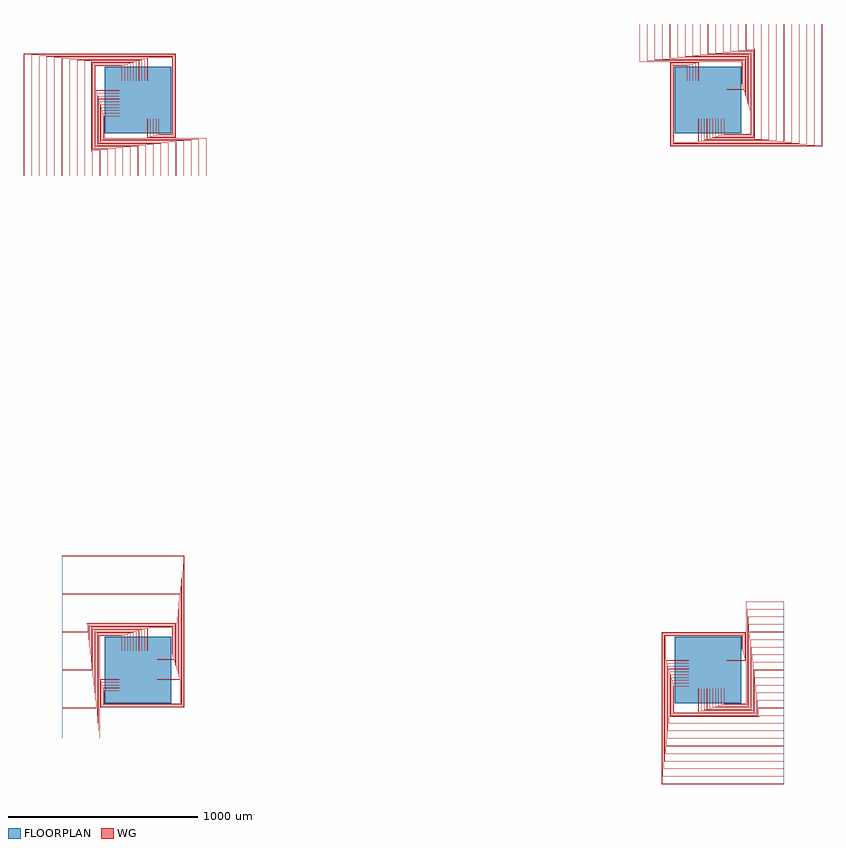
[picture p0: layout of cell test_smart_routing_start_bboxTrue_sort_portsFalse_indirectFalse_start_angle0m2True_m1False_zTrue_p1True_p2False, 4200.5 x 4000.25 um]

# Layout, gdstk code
import gdstk
lib = gdstk.Library(unit=1e-6, precision=1e-09)
def R(c, l, rs):  # rectangles x0, y0, x1, y1
    for r in rs: c.add(gdstk.rectangle(r[:2], r[2:], *l))
def P(c, l, *ps):  # polygons
    for p in ps: c.add(gdstk.Polygon(p, *l))
WG = (1, 0)
FLOORPLAN = (10, 0)

test_smart_routing_start = lib.new_cell('test_smart_routing_start_bboxTrue_sort_portsFalse_indirectFalse_start_angle0m2True_m1False_zTrue_p1True_p2False')
P(test_smart_routing_start, WG, [(2802.8,2757.8),(2802.8,3197.2),(2949.95,3197.2),(2949.95,3100),(2949.75,3100),(2949.75,3197),(2803,3197),(2803,2758),(3599.75,2758),(3599.75,3400),(3599.95,3400),(3599.95,2757.8)],
  [(2802.5,2757.5),(2802.5,3197.5),(2950.25,3197.5),(2950.25,3100),(2950.05,3100),(2950.05,3197.3),(2802.7,3197.3),(2802.7,2757.7),(3600.05,2757.7),(3600.05,3400),(3600.25,3400),(3600.25,2757.5)],
  [(2807.3,2762.3),(2807.3,3192.7),(2934.95,3192.7),(2934.95,3100),(2934.75,3100),(2934.75,3192.5),(2807.5,3192.5),(2807.5,2762.5),(3559.75,2762.5),(3559.75,3400),(3559.95,3400),(3559.95,2762.3)],
  [(2807,2762),(2807,3193),(2935.25,3193),(2935.25,3100),(2935.05,3100),(2935.05,3192.8),(2807.2,3192.8),(2807.2,2762.2),(3560.05,2762.2),(3560.05,3400),(3560.25,3400),(3560.25,2762)],
  [(2811.8,2766.8),(2811.8,3188.2),(2919.95,3188.2),(2919.95,3100),(2919.75,3100),(2919.75,3188),(2812,3188),(2812,2767),(3519.75,2767),(3519.75,3400),(3519.95,3400),(3519.95,2766.8)],
  [(2811.5,2766.5),(2811.5,3188.5),(2920.25,3188.5),(2920.25,3100),(2920.05,3100),(2920.05,3188.3),(2811.7,3188.3),(2811.7,2766.7),(3520.05,2766.7),(3520.05,3400),(3520.25,3400),(3520.25,2766.5)],
  [(2816.3,2771.3),(2816.3,3183.7),(2904.95,3183.7),(2904.95,3100),(2904.75,3100),(2904.75,3183.5),(2816.5,3183.5),(2816.5,2771.5),(3479.75,2771.5),(3479.75,3400),(3479.95,3400),(3479.95,2771.3)],
  [(2816,2771),(2816,3184),(2905.25,3184),(2905.25,3100),(2905.05,3100),(2905.05,3183.8),(2816.2,3183.8),(2816.2,2771.2),(3480.05,2771.2),(3480.05,3400),(3480.25,3400),(3480.25,2771)],
  [(2820.8,2775.8),(2820.8,3179.2),(2889.95,3179.2),(2889.95,3100),(2889.75,3100),(2889.75,3179),(2821,3179),(2821,2776),(3439.75,2776),(3439.75,3400),(3439.95,3400),(3439.95,2775.8)],
  [(2820.5,2775.5),(2820.5,3179.5),(2890.25,3179.5),(2890.25,3100),(2890.05,3100),(2890.05,3179.3),(2820.7,3179.3),(2820.7,2775.7),(3440.05,2775.7),(3440.05,3400),(3440.25,3400),(3440.25,2775.5)],
  [(2950.05,2780.3),(2950.05,2900),(2950.25,2900),(2950.25,2780.5),(3399.75,2780.5),(3399.75,3400),(3399.95,3400),(3399.95,2780.3)],
  [(2949.75,2780),(2949.75,2900),(2949.95,2900),(2949.95,2780.2),(3400.05,2780.2),(3400.05,3400),(3400.25,3400),(3400.25,2780)],
  [(2965.05,2784.8),(2965.05,2900),(2965.25,2900),(2965.25,2785),(3359.75,2785),(3359.75,3400),(3359.95,3400),(3359.95,2784.8)],
  [(2964.75,2784.5),(2964.75,2900),(2964.95,2900),(2964.95,2784.7),(3360.05,2784.7),(3360.05,3400),(3360.25,3400),(3360.25,2784.5)],
  [(2980.05,2789.3),(2980.05,2900),(2980.25,2900),(2980.25,2789.5),(3319.75,2789.5),(3319.75,3400),(3319.95,3400),(3319.95,2789.3)],
  [(2979.75,2789),(2979.75,2900),(2979.95,2900),(2979.95,2789.2),(3320.05,2789.2),(3320.05,3400),(3320.25,3400),(3320.25,2789)],
  [(2995.05,2793.8),(2995.05,2900),(2995.25,2900),(2995.25,2794),(3279.75,2794),(3279.75,3400),(3279.95,3400),(3279.95,2793.8)],
  [(2994.75,2793.5),(2994.75,2900),(2994.95,2900),(2994.95,2793.7),(3280.05,2793.7),(3280.05,3400),(3280.25,3400),(3280.25,2793.5)],
  [(3010.05,2798.3),(3010.05,2900),(3010.25,2900),(3010.25,2798.5),(3246.5,2798.5),(3246.5,3269),(3239.75,3269),(3239.75,3400),(3239.95,3400),(3239.95,3269.2),(3246.7,3269.2),(3246.7,2798.3)],
  [(3009.75,2798),(3009.75,2900),(3009.95,2900),(3009.95,2798.2),(3246.8,2798.2),(3246.8,3269.3),(3240.05,3269.3),(3240.05,3400),(3240.25,3400),(3240.25,3269.5),(3247,3269.5),(3247,2798)],
  [(3025.05,2802.8),(3025.05,2900),(3025.25,2900),(3025.25,2803),(3242,2803),(3242,3264.5),(3199.75,3264.5),(3199.75,3400),(3199.95,3400),(3199.95,3264.7),(3242.2,3264.7),(3242.2,2802.8)],
  [(3024.75,2802.5),(3024.75,2900),(3024.95,2900),(3024.95,2802.7),(3242.3,2802.7),(3242.3,3264.8),(3200.05,3264.8),(3200.05,3400),(3200.25,3400),(3200.25,3265),(3242.5,3265),(3242.5,2802.5)],
  [(3040.05,2807.3),(3040.05,2900),(3040.25,2900),(3040.25,2807.5),(3237.5,2807.5),(3237.5,3260),(3159.75,3260),(3159.75,3400),(3159.95,3400),(3159.95,3260.2),(3237.7,3260.2),(3237.7,2807.3)],
  [(3039.75,2807),(3039.75,2900),(3039.95,2900),(3039.95,2807.2),(3237.8,2807.2),(3237.8,3260.3),(3160.05,3260.3),(3160.05,3400),(3160.25,3400),(3160.25,3260.5),(3238,3260.5),(3238,2807)],
  [(3055.05,2811.8),(3055.05,2900),(3055.25,2900),(3055.25,2812),(3233,2812),(3233,3255.5),(3119.75,3255.5),(3119.75,3400),(3119.95,3400),(3119.95,3255.7),(3233.2,3255.7),(3233.2,2811.8)],
  [(3054.75,2811.5),(3054.75,2900),(3054.95,2900),(3054.95,2811.7),(3233.3,2811.7),(3233.3,3255.8),(3120.05,3255.8),(3120.05,3400),(3120.25,3400),(3120.25,3256),(3233.5,3256),(3233.5,2811.5)],
  [(3070.05,2816.3),(3070.05,2900),(3070.25,2900),(3070.25,2816.5),(3228.5,2816.5),(3228.5,3251),(3079.75,3251),(3079.75,3400),(3079.95,3400),(3079.95,3251.2),(3228.7,3251.2),(3228.7,2816.3)],
  [(3069.75,2816),(3069.75,2900),(3069.95,2900),(3069.95,2816.2),(3228.8,2816.2),(3228.8,3251.3),(3080.05,3251.3),(3080.05,3400),(3080.25,3400),(3080.25,3251.5),(3229,3251.5),(3229,2816)],
  [(3085.05,2820.8),(3085.05,2900),(3085.25,2900),(3085.25,2821),(3224,2821),(3224,3246.5),(3039.75,3246.5),(3039.75,3400),(3039.95,3400),(3039.95,3246.7),(3224.2,3246.7),(3224.2,2820.8)],
  [(3084.75,2820.5),(3084.75,2900),(3084.95,2900),(3084.95,2820.7),(3224.3,2820.7),(3224.3,3246.8),(3040.05,3246.8),(3040.05,3400),(3040.25,3400),(3040.25,3247),(3224.5,3247),(3224.5,2820.5)],
  [(3100,2950.05),(3100,2950.25),(3219.5,2950.25),(3219.5,3242),(2999.75,3242),(2999.75,3400),(2999.95,3400),(2999.95,3242.2),(3219.7,3242.2),(3219.7,2950.05)],
  [(3100,2949.75),(3100,2949.95),(3219.8,2949.95),(3219.8,3242.3),(3000.05,3242.3),(3000.05,3400),(3000.25,3400),(3000.25,3242.5),(3220,3242.5),(3220,2949.75)],
  [(3100,2965.05),(3100,2965.25),(3215,2965.25),(3215,3237.5),(2959.75,3237.5),(2959.75,3400),(2959.95,3400),(2959.95,3237.7),(3215.2,3237.7),(3215.2,2965.05)],
  [(3100,2964.75),(3100,2964.95),(3215.3,2964.95),(3215.3,3237.8),(2960.05,3237.8),(2960.05,3400),(2960.25,3400),(2960.25,3238),(3215.5,3238),(3215.5,2964.75)],
  [(3100,2980.05),(3100,2980.25),(3210.5,2980.25),(3210.5,3233),(2919.75,3233),(2919.75,3400),(2919.95,3400),(2919.95,3233.2),(3210.7,3233.2),(3210.7,2980.05)],
  [(3100,2979.75),(3100,2979.95),(3210.8,2979.95),(3210.8,3233.3),(2920.05,3233.3),(2920.05,3400),(2920.25,3400),(2920.25,3233.5),(3211,3233.5),(3211,2979.75)],
  [(3100,2995.05),(3100,2995.25),(3206,2995.25),(3206,3228.5),(2879.75,3228.5),(2879.75,3400),(2879.95,3400),(2879.95,3228.7),(3206.2,3228.7),(3206.2,2995.05)],
  [(3100,2994.75),(3100,2994.95),(3206.3,2994.95),(3206.3,3228.8),(2880.05,3228.8),(2880.05,3400),(2880.25,3400),(2880.25,3229),(3206.5,3229),(3206.5,2994.75)],
  [(3100,3010.05),(3100,3010.25),(3201.5,3010.25),(3201.5,3224),(2839.75,3224),(2839.75,3400),(2839.95,3400),(2839.95,3224.2),(3201.7,3224.2),(3201.7,3010.05)],
  [(3100,3009.75),(3100,3009.95),(3201.8,3009.95),(3201.8,3224.3),(2840.05,3224.3),(2840.05,3400),(2840.25,3400),(2840.25,3224.5),(3202,3224.5),(3202,3009.75)],
  [(3100,3025.05),(3100,3025.25),(3197,3025.25),(3197,3219.5),(2799.75,3219.5),(2799.75,3400),(2799.95,3400),(2799.95,3219.7),(3197.2,3219.7),(3197.2,3025.05)],
  [(3100,3024.75),(3100,3024.95),(3197.3,3024.95),(3197.3,3219.8),(2800.05,3219.8),(2800.05,3400),(2800.25,3400),(2800.25,3220),(3197.5,3220),(3197.5,3024.75)],
  [(3100,3040.05),(3100,3040.25),(3192.5,3040.25),(3192.5,3215),(2759.75,3215),(2759.75,3400),(2759.95,3400),(2759.95,3215.2),(3192.7,3215.2),(3192.7,3040.05)],
  [(3100,3039.75),(3100,3039.95),(3192.8,3039.95),(3192.8,3215.3),(2760.05,3215.3),(2760.05,3400),(2760.25,3400),(2760.25,3215.5),(3193,3215.5),(3193,3039.75)],
  [(3100,3055.05),(3100,3055.25),(3188,3055.25),(3188,3210.5),(2719.75,3210.5),(2719.75,3400),(2719.95,3400),(2719.95,3210.7),(3188.2,3210.7),(3188.2,3055.05)],
  [(3100,3054.75),(3100,3054.95),(3188.3,3054.95),(3188.3,3210.8),(2720.05,3210.8),(2720.05,3400),(2720.25,3400),(2720.25,3211),(3188.5,3211),(3188.5,3054.75)],
  [(3100,3070.05),(3100,3070.25),(3183.5,3070.25),(3183.5,3206),(2679.75,3206),(2679.75,3400),(2679.95,3400),(2679.95,3206.2),(3183.7,3206.2),(3183.7,3070.05)],
  [(3100,3069.75),(3100,3069.95),(3183.8,3069.95),(3183.8,3206.3),(2680.05,3206.3),(2680.05,3400),(2680.25,3400),(2680.25,3206.5),(3184,3206.5),(3184,3069.75)],
  [(3100,3085.05),(3100,3085.25),(3179,3085.25),(3179,3201.5),(2639.75,3201.5),(2639.75,3400),(2639.95,3400),(2639.95,3201.7),(3179.2,3201.7),(3179.2,3085.05)],
  [(3100,3084.75),(3100,3084.95),(3179.3,3084.95),(3179.3,3201.8),(2640.05,3201.8),(2640.05,3400),(2640.25,3400),(2640.25,3202),(3179.5,3202),(3179.5,3084.75)],
  [(-599.95,2600),(-599.95,3242.2),(197.2,3242.2),(197.2,2802.8),(50.05,2802.8),(50.05,2900),(50.25,2900),(50.25,2803),(197,2803),(197,3242),(-599.75,3242),(-599.75,2600)],
  [(-600.25,2600),(-600.25,3242.5),(197.5,3242.5),(197.5,2802.5),(49.75,2802.5),(49.75,2900),(49.95,2900),(49.95,2802.7),(197.3,2802.7),(197.3,3242.3),(-600.05,3242.3),(-600.05,2600)],
  [(-559.95,2600),(-559.95,3237.7),(192.7,3237.7),(192.7,2807.3),(65.05,2807.3),(65.05,2900),(65.25,2900),(65.25,2807.5),(192.5,2807.5),(192.5,3237.5),(-559.75,3237.5),(-559.75,2600)],
  [(-560.25,2600),(-560.25,3238),(193,3238),(193,2807),(64.75,2807),(64.75,2900),(64.95,2900),(64.95,2807.2),(192.8,2807.2),(192.8,3237.8),(-560.05,3237.8),(-560.05,2600)],
  [(-519.95,2600),(-519.95,3233.2),(188.2,3233.2),(188.2,2811.8),(80.05,2811.8),(80.05,2900),(80.25,2900),(80.25,2812),(188,2812),(188,3233),(-519.75,3233),(-519.75,2600)],
  [(-520.25,2600),(-520.25,3233.5),(188.5,3233.5),(188.5,2811.5),(79.75,2811.5),(79.75,2900),(79.95,2900),(79.95,2811.7),(188.3,2811.7),(188.3,3233.3),(-520.05,3233.3),(-520.05,2600)],
  [(-479.95,2600),(-479.95,3228.7),(183.7,3228.7),(183.7,2816.3),(95.05,2816.3),(95.05,2900),(95.25,2900),(95.25,2816.5),(183.5,2816.5),(183.5,3228.5),(-479.75,3228.5),(-479.75,2600)],
  [(-480.25,2600),(-480.25,3229),(184,3229),(184,2816),(94.75,2816),(94.75,2900),(94.95,2900),(94.95,2816.2),(183.8,2816.2),(183.8,3228.8),(-480.05,3228.8),(-480.05,2600)],
  [(-439.95,2600),(-439.95,3224.2),(179.2,3224.2),(179.2,2820.8),(110.05,2820.8),(110.05,2900),(110.25,2900),(110.25,2821),(179,2821),(179,3224),(-439.75,3224),(-439.75,2600)],
  [(-440.25,2600),(-440.25,3224.5),(179.5,3224.5),(179.5,2820.5),(109.75,2820.5),(109.75,2900),(109.95,2900),(109.95,2820.7),(179.3,2820.7),(179.3,3224.3),(-440.05,3224.3),(-440.05,2600)],
  [(-399.95,2600),(-399.95,3219.7),(49.95,3219.7),(49.95,3100),(49.75,3100),(49.75,3219.5),(-399.75,3219.5),(-399.75,2600)],
  [(-400.25,2600),(-400.25,3220),(50.25,3220),(50.25,3100),(50.05,3100),(50.05,3219.8),(-400.05,3219.8),(-400.05,2600)],
  [(-359.95,2600),(-359.95,3215.2),(34.95,3215.2),(34.95,3100),(34.75,3100),(34.75,3215),(-359.75,3215),(-359.75,2600)],
  [(-360.25,2600),(-360.25,3215.5),(35.25,3215.5),(35.25,3100),(35.05,3100),(35.05,3215.3),(-360.05,3215.3),(-360.05,2600)],
  [(-319.95,2600),(-319.95,3210.7),(19.95,3210.7),(19.95,3100),(19.75,3100),(19.75,3210.5),(-319.75,3210.5),(-319.75,2600)],
  [(-320.25,2600),(-320.25,3211),(20.25,3211),(20.25,3100),(20.05,3100),(20.05,3210.8),(-320.05,3210.8),(-320.05,2600)],
  [(-279.95,2600),(-279.95,3206.2),(4.95,3206.2),(4.95,3100),(4.75,3100),(4.75,3206),(-279.75,3206),(-279.75,2600)],
  [(-280.25,2600),(-280.25,3206.5),(5.25,3206.5),(5.25,3100),(5.05,3100),(5.05,3206.3),(-280.05,3206.3),(-280.05,2600)],
  [(-239.95,2600),(-239.95,2730.8),(-246.7,2730.8),(-246.7,3201.7),(-10.05,3201.7),(-10.05,3100),(-10.25,3100),(-10.25,3201.5),(-246.5,3201.5),(-246.5,2731),(-239.75,2731),(-239.75,2600)],
  [(-240.25,2600),(-240.25,2730.5),(-247,2730.5),(-247,3202),(-9.75,3202),(-9.75,3100),(-9.95,3100),(-9.95,3201.8),(-246.8,3201.8),(-246.8,2730.7),(-240.05,2730.7),(-240.05,2600)],
  [(-199.95,2600),(-199.95,2735.3),(-242.2,2735.3),(-242.2,3197.2),(-25.05,3197.2),(-25.05,3100),(-25.25,3100),(-25.25,3197),(-242,3197),(-242,2735.5),(-199.75,2735.5),(-199.75,2600)],
  [(-200.25,2600),(-200.25,2735),(-242.5,2735),(-242.5,3197.5),(-24.75,3197.5),(-24.75,3100),(-24.95,3100),(-24.95,3197.3),(-242.3,3197.3),(-242.3,2735.2),(-200.05,2735.2),(-200.05,2600)],
  [(-159.95,2600),(-159.95,2739.8),(-237.7,2739.8),(-237.7,3192.7),(-40.05,3192.7),(-40.05,3100),(-40.25,3100),(-40.25,3192.5),(-237.5,3192.5),(-237.5,2740),(-159.75,2740),(-159.75,2600)],
  [(-160.25,2600),(-160.25,2739.5),(-238,2739.5),(-238,3193),(-39.75,3193),(-39.75,3100),(-39.95,3100),(-39.95,3192.8),(-237.8,3192.8),(-237.8,2739.7),(-160.05,2739.7),(-160.05,2600)],
  [(-119.95,2600),(-119.95,2744.3),(-233.2,2744.3),(-233.2,3188.2),(-55.05,3188.2),(-55.05,3100),(-55.25,3100),(-55.25,3188),(-233,3188),(-233,2744.5),(-119.75,2744.5),(-119.75,2600)],
  [(-120.25,2600),(-120.25,2744),(-233.5,2744),(-233.5,3188.5),(-54.75,3188.5),(-54.75,3100),(-54.95,3100),(-54.95,3188.3),(-233.3,3188.3),(-233.3,2744.2),(-120.05,2744.2),(-120.05,2600)],
  [(-79.95,2600),(-79.95,2748.8),(-228.7,2748.8),(-228.7,3183.7),(-70.05,3183.7),(-70.05,3100),(-70.25,3100),(-70.25,3183.5),(-228.5,3183.5),(-228.5,2749),(-79.75,2749),(-79.75,2600)],
  [(-80.25,2600),(-80.25,2748.5),(-229,2748.5),(-229,3184),(-69.75,3184),(-69.75,3100),(-69.95,3100),(-69.95,3183.8),(-228.8,3183.8),(-228.8,2748.7),(-80.05,2748.7),(-80.05,2600)],
  [(-39.95,2600),(-39.95,2753.3),(-224.2,2753.3),(-224.2,3179.2),(-85.05,3179.2),(-85.05,3100),(-85.25,3100),(-85.25,3179),(-224,3179),(-224,2753.5),(-39.75,2753.5),(-39.75,2600)],
  [(-40.25,2600),(-40.25,2753),(-224.5,2753),(-224.5,3179.5),(-84.75,3179.5),(-84.75,3100),(-84.95,3100),(-84.95,3179.3),(-224.3,3179.3),(-224.3,2753.2),(-40.05,2753.2),(-40.05,2600)],
  [(0.05,2600),(0.05,2757.8),(-219.7,2757.8),(-219.7,3049.95),(-100,3049.95),(-100,3049.75),(-219.5,3049.75),(-219.5,2758),(0.25,2758),(0.25,2600)],
  [(-0.25,2600),(-0.25,2757.5),(-220,2757.5),(-220,3050.25),(-100,3050.25),(-100,3050.05),(-219.8,3050.05),(-219.8,2757.7),(-0.05,2757.7),(-0.05,2600)],
  [(40.05,2600),(40.05,2762.3),(-215.2,2762.3),(-215.2,3034.95),(-100,3034.95),(-100,3034.75),(-215,3034.75),(-215,2762.5),(40.25,2762.5),(40.25,2600)],
  [(39.75,2600),(39.75,2762),(-215.5,2762),(-215.5,3035.25),(-100,3035.25),(-100,3035.05),(-215.3,3035.05),(-215.3,2762.2),(39.95,2762.2),(39.95,2600)],
  [(80.05,2600),(80.05,2766.8),(-210.7,2766.8),(-210.7,3019.95),(-100,3019.95),(-100,3019.75),(-210.5,3019.75),(-210.5,2767),(80.25,2767),(80.25,2600)],
  [(79.75,2600),(79.75,2766.5),(-211,2766.5),(-211,3020.25),(-100,3020.25),(-100,3020.05),(-210.8,3020.05),(-210.8,2766.7),(79.95,2766.7),(79.95,2600)],
  [(120.05,2600),(120.05,2771.3),(-206.2,2771.3),(-206.2,3004.95),(-100,3004.95),(-100,3004.75),(-206,3004.75),(-206,2771.5),(120.25,2771.5),(120.25,2600)],
  [(119.75,2600),(119.75,2771),(-206.5,2771),(-206.5,3005.25),(-100,3005.25),(-100,3005.05),(-206.3,3005.05),(-206.3,2771.2),(119.95,2771.2),(119.95,2600)],
  [(160.05,2600),(160.05,2775.8),(-201.7,2775.8),(-201.7,2989.95),(-100,2989.95),(-100,2989.75),(-201.5,2989.75),(-201.5,2776),(160.25,2776),(160.25,2600)],
  [(159.75,2600),(159.75,2775.5),(-202,2775.5),(-202,2990.25),(-100,2990.25),(-100,2990.05),(-201.8,2990.05),(-201.8,2775.7),(159.95,2775.7),(159.95,2600)],
  [(200.05,2600),(200.05,2780.3),(-197.2,2780.3),(-197.2,2974.95),(-100,2974.95),(-100,2974.75),(-197,2974.75),(-197,2780.5),(200.25,2780.5),(200.25,2600)],
  [(199.75,2600),(199.75,2780),(-197.5,2780),(-197.5,2975.25),(-100,2975.25),(-100,2975.05),(-197.3,2975.05),(-197.3,2780.2),(199.95,2780.2),(199.95,2600)],
  [(240.05,2600),(240.05,2784.8),(-192.7,2784.8),(-192.7,2959.95),(-100,2959.95),(-100,2959.75),(-192.5,2959.75),(-192.5,2785),(240.25,2785),(240.25,2600)],
  [(239.75,2600),(239.75,2784.5),(-193,2784.5),(-193,2960.25),(-100,2960.25),(-100,2960.05),(-192.8,2960.05),(-192.8,2784.7),(239.95,2784.7),(239.95,2600)],
  [(280.05,2600),(280.05,2789.3),(-188.2,2789.3),(-188.2,2944.95),(-100,2944.95),(-100,2944.75),(-188,2944.75),(-188,2789.5),(280.25,2789.5),(280.25,2600)],
  [(279.75,2600),(279.75,2789),(-188.5,2789),(-188.5,2945.25),(-100,2945.25),(-100,2945.05),(-188.3,2945.05),(-188.3,2789.2),(279.95,2789.2),(279.95,2600)],
  [(320.05,2600),(320.05,2793.8),(-183.7,2793.8),(-183.7,2929.95),(-100,2929.95),(-100,2929.75),(-183.5,2929.75),(-183.5,2794),(320.25,2794),(320.25,2600)],
  [(319.75,2600),(319.75,2793.5),(-184,2793.5),(-184,2930.25),(-100,2930.25),(-100,2930.05),(-183.8,2930.05),(-183.8,2793.7),(319.95,2793.7),(319.95,2600)],
  [(360.05,2600),(360.05,2798.3),(-179.2,2798.3),(-179.2,2914.95),(-100,2914.95),(-100,2914.75),(-179,2914.75),(-179,2798.5),(360.25,2798.5),(360.25,2600)],
  [(359.75,2600),(359.75,2798),(-179.5,2798),(-179.5,2915.25),(-100,2915.25),(-100,2915.05),(-179.3,2915.05),(-179.3,2798.2),(359.95,2798.2),(359.95,2600)],
  [(-197.2,-197.2),(-197.2,-50.05),(-100,-50.05),(-100,-50.25),(-197,-50.25),(-197,-197),(242,-197),(242,599.75),(-400,599.75),(-400,599.95),(242.2,599.95),(242.2,-197.2)],
  [(-197.5,-197.5),(-197.5,-49.75),(-100,-49.75),(-100,-49.95),(-197.3,-49.95),(-197.3,-197.3),(242.3,-197.3),(242.3,600.05),(-400,600.05),(-400,600.25),(242.5,600.25),(242.5,-197.5)],
  [(-192.7,-192.7),(-192.7,-65.05),(-100,-65.05),(-100,-65.25),(-192.5,-65.25),(-192.5,-192.5),(237.5,-192.5),(237.5,559.75),(-400,559.75),(-400,559.95),(237.7,559.95),(237.7,-192.7)],
  [(-193,-193),(-193,-64.75),(-100,-64.75),(-100,-64.95),(-192.8,-64.95),(-192.8,-192.8),(237.8,-192.8),(237.8,560.05),(-400,560.05),(-400,560.25),(238,560.25),(238,-193)],
  [(-188.2,-188.2),(-188.2,-80.05),(-100,-80.05),(-100,-80.25),(-188,-80.25),(-188,-188),(233,-188),(233,519.75),(-400,519.75),(-400,519.95),(233.2,519.95),(233.2,-188.2)],
  [(-188.5,-188.5),(-188.5,-79.75),(-100,-79.75),(-100,-79.95),(-188.3,-79.95),(-188.3,-188.3),(233.3,-188.3),(233.3,520.05),(-400,520.05),(-400,520.25),(233.5,520.25),(233.5,-188.5)],
  [(-183.7,-183.7),(-183.7,-95.05),(-100,-95.05),(-100,-95.25),(-183.5,-95.25),(-183.5,-183.5),(228.5,-183.5),(228.5,479.75),(-400,479.75),(-400,479.95),(228.7,479.95),(228.7,-183.7)],
  [(-184,-184),(-184,-94.75),(-100,-94.75),(-100,-94.95),(-183.8,-94.95),(-183.8,-183.8),(228.8,-183.8),(228.8,480.05),(-400,480.05),(-400,480.25),(229,480.25),(229,-184)],
  [(-179.2,-179.2),(-179.2,-110.05),(-100,-110.05),(-100,-110.25),(-179,-110.25),(-179,-179),(224,-179),(224,439.75),(-400,439.75),(-400,439.95),(224.2,439.95),(224.2,-179.2)],
  [(-179.5,-179.5),(-179.5,-109.75),(-100,-109.75),(-100,-109.95),(-179.3,-109.95),(-179.3,-179.3),(224.3,-179.3),(224.3,440.05),(-400,440.05),(-400,440.25),(224.5,440.25),(224.5,-179.5)],
  [(100,-49.95),(100,-49.75),(219.5,-49.75),(219.5,399.75),(-400,399.75),(-400,399.95),(219.7,399.95),(219.7,-49.95)],
  [(100,-50.25),(100,-50.05),(219.8,-50.05),(219.8,400.05),(-400,400.05),(-400,400.25),(220,400.25),(220,-50.25)],
  [(100,-34.95),(100,-34.75),(215,-34.75),(215,359.75),(-400,359.75),(-400,359.95),(215.2,359.95),(215.2,-34.95)],
  [(100,-35.25),(100,-35.05),(215.3,-35.05),(215.3,360.05),(-400,360.05),(-400,360.25),(215.5,360.25),(215.5,-35.25)],
  [(100,-19.95),(100,-19.75),(210.5,-19.75),(210.5,319.75),(-400,319.75),(-400,319.95),(210.7,319.95),(210.7,-19.95)],
  [(100,-20.25),(100,-20.05),(210.8,-20.05),(210.8,320.05),(-400,320.05),(-400,320.25),(211,320.25),(211,-20.25)],
  [(100,-4.95),(100,-4.75),(206,-4.75),(206,279.75),(-400,279.75),(-400,279.95),(206.2,279.95),(206.2,-4.95)],
  [(100,-5.25),(100,-5.05),(206.3,-5.05),(206.3,280.05),(-400,280.05),(-400,280.25),(206.5,280.25),(206.5,-5.25)],
  [(100,10.05),(100,10.25),(201.5,10.25),(201.5,246.5),(-269,246.5),(-269,239.75),(-400,239.75),(-400,239.95),(-269.2,239.95),(-269.2,246.7),(201.7,246.7),(201.7,10.05)],
  [(100,9.75),(100,9.95),(201.8,9.95),(201.8,246.8),(-269.3,246.8),(-269.3,240.05),(-400,240.05),(-400,240.25),(-269.5,240.25),(-269.5,247),(202,247),(202,9.75)],
  [(100,25.05),(100,25.25),(197,25.25),(197,242),(-264.5,242),(-264.5,199.75),(-400,199.75),(-400,199.95),(-264.7,199.95),(-264.7,242.2),(197.2,242.2),(197.2,25.05)],
  [(100,24.75),(100,24.95),(197.3,24.95),(197.3,242.3),(-264.8,242.3),(-264.8,200.05),(-400,200.05),(-400,200.25),(-265,200.25),(-265,242.5),(197.5,242.5),(197.5,24.75)],
  [(100,40.05),(100,40.25),(192.5,40.25),(192.5,237.5),(-260,237.5),(-260,159.75),(-400,159.75),(-400,159.95),(-260.2,159.95),(-260.2,237.7),(192.7,237.7),(192.7,40.05)],
  [(100,39.75),(100,39.95),(192.8,39.95),(192.8,237.8),(-260.3,237.8),(-260.3,160.05),(-400,160.05),(-400,160.25),(-260.5,160.25),(-260.5,238),(193,238),(193,39.75)],
  [(100,55.05),(100,55.25),(188,55.25),(188,233),(-255.5,233),(-255.5,119.75),(-400,119.75),(-400,119.95),(-255.7,119.95),(-255.7,233.2),(188.2,233.2),(188.2,55.05)],
  [(100,54.75),(100,54.95),(188.3,54.95),(188.3,233.3),(-255.8,233.3),(-255.8,120.05),(-400,120.05),(-400,120.25),(-256,120.25),(-256,233.5),(188.5,233.5),(188.5,54.75)],
  [(100,70.05),(100,70.25),(183.5,70.25),(183.5,228.5),(-251,228.5),(-251,79.75),(-400,79.75),(-400,79.95),(-251.2,79.95),(-251.2,228.7),(183.7,228.7),(183.7,70.05)],
  [(100,69.75),(100,69.95),(183.8,69.95),(183.8,228.8),(-251.3,228.8),(-251.3,80.05),(-400,80.05),(-400,80.25),(-251.5,80.25),(-251.5,229),(184,229),(184,69.75)],
  [(-400,39.75),(-400,39.95),(-246.7,39.95),(-246.7,224.2),(179.2,224.2),(179.2,85.05),(100,85.05),(100,85.25),(179,85.25),(179,224),(-246.5,224),(-246.5,39.75)],
  [(-400,40.05),(-400,40.25),(-247,40.25),(-247,224.5),(179.5,224.5),(179.5,84.75),(100,84.75),(100,84.95),(179.3,84.95),(179.3,224.3),(-246.8,224.3),(-246.8,40.05)],
  [(-400,-0.25),(-400,-0.05),(-242.2,-0.05),(-242.2,219.7),(49.95,219.7),(49.95,100),(49.75,100),(49.75,219.5),(-242,219.5),(-242,-0.25)],
  [(-400,0.05),(-400,0.25),(-242.5,0.25),(-242.5,220),(50.25,220),(50.25,100),(50.05,100),(50.05,219.8),(-242.3,219.8),(-242.3,0.05)],
  [(-400,-40.25),(-400,-40.05),(-237.7,-40.05),(-237.7,215.2),(34.95,215.2),(34.95,100),(34.75,100),(34.75,215),(-237.5,215),(-237.5,-40.25)],
  [(-400,-39.95),(-400,-39.75),(-238,-39.75),(-238,215.5),(35.25,215.5),(35.25,100),(35.05,100),(35.05,215.3),(-237.8,215.3),(-237.8,-39.95)],
  [(-400,-80.25),(-400,-80.05),(-233.2,-80.05),(-233.2,210.7),(19.95,210.7),(19.95,100),(19.75,100),(19.75,210.5),(-233,210.5),(-233,-80.25)],
  [(-400,-79.95),(-400,-79.75),(-233.5,-79.75),(-233.5,211),(20.25,211),(20.25,100),(20.05,100),(20.05,210.8),(-233.3,210.8),(-233.3,-79.95)],
  [(-400,-120.25),(-400,-120.05),(-228.7,-120.05),(-228.7,206.2),(4.95,206.2),(4.95,100),(4.75,100),(4.75,206),(-228.5,206),(-228.5,-120.25)],
  [(-400,-119.95),(-400,-119.75),(-229,-119.75),(-229,206.5),(5.25,206.5),(5.25,100),(5.05,100),(5.05,206.3),(-228.8,206.3),(-228.8,-119.95)],
  [(-400,-160.25),(-400,-160.05),(-224.2,-160.05),(-224.2,201.7),(-10.05,201.7),(-10.05,100),(-10.25,100),(-10.25,201.5),(-224,201.5),(-224,-160.25)],
  [(-400,-159.95),(-400,-159.75),(-224.5,-159.75),(-224.5,202),(-9.75,202),(-9.75,100),(-9.95,100),(-9.95,201.8),(-224.3,201.8),(-224.3,-159.95)],
  [(-400,-200.25),(-400,-200.05),(-219.7,-200.05),(-219.7,197.2),(-25.05,197.2),(-25.05,100),(-25.25,100),(-25.25,197),(-219.5,197),(-219.5,-200.25)],
  [(-400,-199.95),(-400,-199.75),(-220,-199.75),(-220,197.5),(-24.75,197.5),(-24.75,100),(-24.95,100),(-24.95,197.3),(-219.8,197.3),(-219.8,-199.95)],
  [(-400,-240.25),(-400,-240.05),(-215.2,-240.05),(-215.2,192.7),(-40.05,192.7),(-40.05,100),(-40.25,100),(-40.25,192.5),(-215,192.5),(-215,-240.25)],
  [(-400,-239.95),(-400,-239.75),(-215.5,-239.75),(-215.5,193),(-39.75,193),(-39.75,100),(-39.95,100),(-39.95,192.8),(-215.3,192.8),(-215.3,-239.95)],
  [(-400,-280.25),(-400,-280.05),(-210.7,-280.05),(-210.7,188.2),(-55.05,188.2),(-55.05,100),(-55.25,100),(-55.25,188),(-210.5,188),(-210.5,-280.25)],
  [(-400,-279.95),(-400,-279.75),(-211,-279.75),(-211,188.5),(-54.75,188.5),(-54.75,100),(-54.95,100),(-54.95,188.3),(-210.8,188.3),(-210.8,-279.95)],
  [(-400,-320.25),(-400,-320.05),(-206.2,-320.05),(-206.2,183.7),(-70.05,183.7),(-70.05,100),(-70.25,100),(-70.25,183.5),(-206,183.5),(-206,-320.25)],
  [(-400,-319.95),(-400,-319.75),(-206.5,-319.75),(-206.5,184),(-69.75,184),(-69.75,100),(-69.95,100),(-69.95,183.8),(-206.3,183.8),(-206.3,-319.95)],
  [(-400,-360.25),(-400,-360.05),(-201.7,-360.05),(-201.7,179.2),(-85.05,179.2),(-85.05,100),(-85.25,100),(-85.25,179),(-201.5,179),(-201.5,-360.25)],
  [(-400,-359.95),(-400,-359.75),(-202,-359.75),(-202,179.5),(-84.75,179.5),(-84.75,100),(-84.95,100),(-84.95,179.3),(-201.8,179.3),(-201.8,-359.95)],
  [(2757.8,-599.95),(2757.8,197.2),(3197.2,197.2),(3197.2,50.05),(3100,50.05),(3100,50.25),(3197,50.25),(3197,197),(2758,197),(2758,-599.75),(3400,-599.75),(3400,-599.95)],
  [(2757.5,-600.25),(2757.5,197.5),(3197.5,197.5),(3197.5,49.75),(3100,49.75),(3100,49.95),(3197.3,49.95),(3197.3,197.3),(2757.7,197.3),(2757.7,-600.05),(3400,-600.05),(3400,-600.25)],
  [(2762.3,-559.95),(2762.3,192.7),(3192.7,192.7),(3192.7,65.05),(3100,65.05),(3100,65.25),(3192.5,65.25),(3192.5,192.5),(2762.5,192.5),(2762.5,-559.75),(3400,-559.75),(3400,-559.95)],
  [(2762,-560.25),(2762,193),(3193,193),(3193,64.75),(3100,64.75),(3100,64.95),(3192.8,64.95),(3192.8,192.8),(2762.2,192.8),(2762.2,-560.05),(3400,-560.05),(3400,-560.25)],
  [(2766.8,-519.95),(2766.8,188.2),(3188.2,188.2),(3188.2,80.05),(3100,80.05),(3100,80.25),(3188,80.25),(3188,188),(2767,188),(2767,-519.75),(3400,-519.75),(3400,-519.95)],
  [(2766.5,-520.25),(2766.5,188.5),(3188.5,188.5),(3188.5,79.75),(3100,79.75),(3100,79.95),(3188.3,79.95),(3188.3,188.3),(2766.7,188.3),(2766.7,-520.05),(3400,-520.05),(3400,-520.25)],
  [(2771.3,-479.95),(2771.3,183.7),(3183.7,183.7),(3183.7,95.05),(3100,95.05),(3100,95.25),(3183.5,95.25),(3183.5,183.5),(2771.5,183.5),(2771.5,-479.75),(3400,-479.75),(3400,-479.95)],
  [(2771,-480.25),(2771,184),(3184,184),(3184,94.75),(3100,94.75),(3100,94.95),(3183.8,94.95),(3183.8,183.8),(2771.2,183.8),(2771.2,-480.05),(3400,-480.05),(3400,-480.25)],
  [(2775.8,-439.95),(2775.8,179.2),(3179.2,179.2),(3179.2,110.05),(3100,110.05),(3100,110.25),(3179,110.25),(3179,179),(2776,179),(2776,-439.75),(3400,-439.75),(3400,-439.95)],
  [(2775.5,-440.25),(2775.5,179.5),(3179.5,179.5),(3179.5,109.75),(3100,109.75),(3100,109.95),(3179.3,109.95),(3179.3,179.3),(2775.7,179.3),(2775.7,-440.05),(3400,-440.05),(3400,-440.25)],
  [(2780.3,-399.95),(2780.3,49.95),(2900,49.95),(2900,49.75),(2780.5,49.75),(2780.5,-399.75),(3400,-399.75),(3400,-399.95)],
  [(2780,-400.25),(2780,50.25),(2900,50.25),(2900,50.05),(2780.2,50.05),(2780.2,-400.05),(3400,-400.05),(3400,-400.25)],
  [(2784.8,-359.95),(2784.8,34.95),(2900,34.95),(2900,34.75),(2785,34.75),(2785,-359.75),(3400,-359.75),(3400,-359.95)],
  [(2784.5,-360.25),(2784.5,35.25),(2900,35.25),(2900,35.05),(2784.7,35.05),(2784.7,-360.05),(3400,-360.05),(3400,-360.25)],
  [(2789.3,-319.95),(2789.3,19.95),(2900,19.95),(2900,19.75),(2789.5,19.75),(2789.5,-319.75),(3400,-319.75),(3400,-319.95)],
  [(2789,-320.25),(2789,20.25),(2900,20.25),(2900,20.05),(2789.2,20.05),(2789.2,-320.05),(3400,-320.05),(3400,-320.25)],
  [(2793.8,-279.95),(2793.8,4.95),(2900,4.95),(2900,4.75),(2794,4.75),(2794,-279.75),(3400,-279.75),(3400,-279.95)],
  [(2793.5,-280.25),(2793.5,5.25),(2900,5.25),(2900,5.05),(2793.7,5.05),(2793.7,-280.05),(3400,-280.05),(3400,-280.25)],
  [(2798.3,-246.7),(2798.3,-10.05),(2900,-10.05),(2900,-10.25),(2798.5,-10.25),(2798.5,-246.5),(3269,-246.5),(3269,-239.75),(3400,-239.75),(3400,-239.95),(3269.2,-239.95),(3269.2,-246.7)],
  [(2798,-247),(2798,-9.75),(2900,-9.75),(2900,-9.95),(2798.2,-9.95),(2798.2,-246.8),(3269.3,-246.8),(3269.3,-240.05),(3400,-240.05),(3400,-240.25),(3269.5,-240.25),(3269.5,-247)],
  [(2802.8,-242.2),(2802.8,-25.05),(2900,-25.05),(2900,-25.25),(2803,-25.25),(2803,-242),(3264.5,-242),(3264.5,-199.75),(3400,-199.75),(3400,-199.95),(3264.7,-199.95),(3264.7,-242.2)],
  [(2802.5,-242.5),(2802.5,-24.75),(2900,-24.75),(2900,-24.95),(2802.7,-24.95),(2802.7,-242.3),(3264.8,-242.3),(3264.8,-200.05),(3400,-200.05),(3400,-200.25),(3265,-200.25),(3265,-242.5)],
  [(2807.3,-237.7),(2807.3,-40.05),(2900,-40.05),(2900,-40.25),(2807.5,-40.25),(2807.5,-237.5),(3260,-237.5),(3260,-159.75),(3400,-159.75),(3400,-159.95),(3260.2,-159.95),(3260.2,-237.7)],
  [(2807,-238),(2807,-39.75),(2900,-39.75),(2900,-39.95),(2807.2,-39.95),(2807.2,-237.8),(3260.3,-237.8),(3260.3,-160.05),(3400,-160.05),(3400,-160.25),(3260.5,-160.25),(3260.5,-238)],
  [(2811.8,-233.2),(2811.8,-55.05),(2900,-55.05),(2900,-55.25),(2812,-55.25),(2812,-233),(3255.5,-233),(3255.5,-119.75),(3400,-119.75),(3400,-119.95),(3255.7,-119.95),(3255.7,-233.2)],
  [(2811.5,-233.5),(2811.5,-54.75),(2900,-54.75),(2900,-54.95),(2811.7,-54.95),(2811.7,-233.3),(3255.8,-233.3),(3255.8,-120.05),(3400,-120.05),(3400,-120.25),(3256,-120.25),(3256,-233.5)],
  [(2816.3,-228.7),(2816.3,-70.05),(2900,-70.05),(2900,-70.25),(2816.5,-70.25),(2816.5,-228.5),(3251,-228.5),(3251,-79.75),(3400,-79.75),(3400,-79.95),(3251.2,-79.95),(3251.2,-228.7)],
  [(2816,-229),(2816,-69.75),(2900,-69.75),(2900,-69.95),(2816.2,-69.95),(2816.2,-228.8),(3251.3,-228.8),(3251.3,-80.05),(3400,-80.05),(3400,-80.25),(3251.5,-80.25),(3251.5,-229)],
  [(2820.5,-224.5),(2820.5,-84.75),(2900,-84.75),(2900,-84.95),(2820.7,-84.95),(2820.7,-224.3),(3246.8,-224.3),(3246.8,-40.05),(3400,-40.05),(3400,-40.25),(3247,-40.25),(3247,-224.5)],
  [(2820.8,-224.2),(2820.8,-85.05),(2900,-85.05),(2900,-85.25),(2821,-85.25),(2821,-224),(3246.5,-224),(3246.5,-39.75),(3400,-39.75),(3400,-39.95),(3246.7,-39.95),(3246.7,-224.2)],
  [(2949.75,-220),(2949.75,-100),(2949.95,-100),(2949.95,-219.8),(3242.3,-219.8),(3242.3,-0.05),(3400,-0.05),(3400,-0.25),(3242.5,-0.25),(3242.5,-220)],
  [(2950.05,-219.7),(2950.05,-100),(2950.25,-100),(2950.25,-219.5),(3242,-219.5),(3242,0.25),(3400,0.25),(3400,0.05),(3242.2,0.05),(3242.2,-219.7)],
  [(2964.75,-215.5),(2964.75,-100),(2964.95,-100),(2964.95,-215.3),(3237.8,-215.3),(3237.8,39.95),(3400,39.95),(3400,39.75),(3238,39.75),(3238,-215.5)],
  [(2965.05,-215.2),(2965.05,-100),(2965.25,-100),(2965.25,-215),(3237.5,-215),(3237.5,40.25),(3400,40.25),(3400,40.05),(3237.7,40.05),(3237.7,-215.2)],
  [(2979.75,-211),(2979.75,-100),(2979.95,-100),(2979.95,-210.8),(3233.3,-210.8),(3233.3,79.95),(3400,79.95),(3400,79.75),(3233.5,79.75),(3233.5,-211)],
  [(2980.05,-210.7),(2980.05,-100),(2980.25,-100),(2980.25,-210.5),(3233,-210.5),(3233,80.25),(3400,80.25),(3400,80.05),(3233.2,80.05),(3233.2,-210.7)],
  [(2994.75,-206.5),(2994.75,-100),(2994.95,-100),(2994.95,-206.3),(3228.8,-206.3),(3228.8,119.95),(3400,119.95),(3400,119.75),(3229,119.75),(3229,-206.5)],
  [(2995.05,-206.2),(2995.05,-100),(2995.25,-100),(2995.25,-206),(3228.5,-206),(3228.5,120.25),(3400,120.25),(3400,120.05),(3228.7,120.05),(3228.7,-206.2)],
  [(3009.75,-202),(3009.75,-100),(3009.95,-100),(3009.95,-201.8),(3224.3,-201.8),(3224.3,159.95),(3400,159.95),(3400,159.75),(3224.5,159.75),(3224.5,-202)],
  [(3010.05,-201.7),(3010.05,-100),(3010.25,-100),(3010.25,-201.5),(3224,-201.5),(3224,160.25),(3400,160.25),(3400,160.05),(3224.2,160.05),(3224.2,-201.7)],
  [(3024.75,-197.5),(3024.75,-100),(3024.95,-100),(3024.95,-197.3),(3219.8,-197.3),(3219.8,199.95),(3400,199.95),(3400,199.75),(3220,199.75),(3220,-197.5)],
  [(3025.05,-197.2),(3025.05,-100),(3025.25,-100),(3025.25,-197),(3219.5,-197),(3219.5,200.25),(3400,200.25),(3400,200.05),(3219.7,200.05),(3219.7,-197.2)],
  [(3039.75,-193),(3039.75,-100),(3039.95,-100),(3039.95,-192.8),(3215.3,-192.8),(3215.3,239.95),(3400,239.95),(3400,239.75),(3215.5,239.75),(3215.5,-193)],
  [(3040.05,-192.7),(3040.05,-100),(3040.25,-100),(3040.25,-192.5),(3215,-192.5),(3215,240.25),(3400,240.25),(3400,240.05),(3215.2,240.05),(3215.2,-192.7)],
  [(3054.75,-188.5),(3054.75,-100),(3054.95,-100),(3054.95,-188.3),(3210.8,-188.3),(3210.8,279.95),(3400,279.95),(3400,279.75),(3211,279.75),(3211,-188.5)],
  [(3055.05,-188.2),(3055.05,-100),(3055.25,-100),(3055.25,-188),(3210.5,-188),(3210.5,280.25),(3400,280.25),(3400,280.05),(3210.7,280.05),(3210.7,-188.2)],
  [(3069.75,-184),(3069.75,-100),(3069.95,-100),(3069.95,-183.8),(3206.3,-183.8),(3206.3,319.95),(3400,319.95),(3400,319.75),(3206.5,319.75),(3206.5,-184)],
  [(3070.05,-183.7),(3070.05,-100),(3070.25,-100),(3070.25,-183.5),(3206,-183.5),(3206,320.25),(3400,320.25),(3400,320.05),(3206.2,320.05),(3206.2,-183.7)],
  [(3084.75,-179.5),(3084.75,-100),(3084.95,-100),(3084.95,-179.3),(3201.8,-179.3),(3201.8,359.95),(3400,359.95),(3400,359.75),(3202,359.75),(3202,-179.5)],
  [(3085.05,-179.2),(3085.05,-100),(3085.25,-100),(3085.25,-179),(3201.5,-179),(3201.5,360.25),(3400,360.25),(3400,360.05),(3201.7,360.05),(3201.7,-179.2)])
R(test_smart_routing_start, FLOORPLAN, [(-175,-175,175,175), (2825,-175,3175,175), (-175,2825,175,3175), (2825,2825,3175,3175)])
P(test_smart_routing_start, FLOORPLAN, [(-400,-360),(-400,600),(-400,600),(-400,-360)],
  [(-600,2600),(-600,2600),(360,2600),(360,2600)],
  [(3400,-600),(3400,360),(3400,360),(3400,-600)],
  [(2640,3400),(2640,3400),(3600,3400),(3600,3400)])

lib.write_gds('test_smart_routing_start_bboxTrue_sort_portsFalse_indirectFalse_start_angle0m2True_m1False_zTrue_p1True_p2False.gds')
